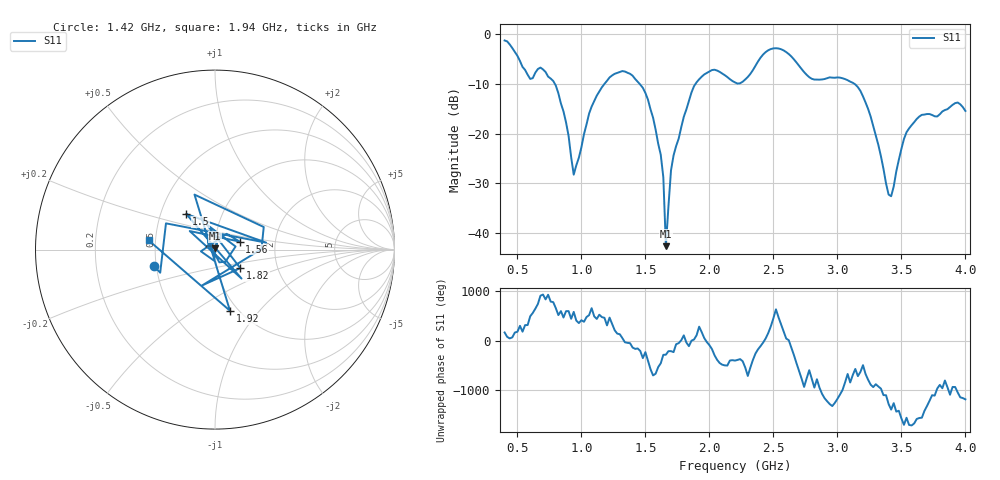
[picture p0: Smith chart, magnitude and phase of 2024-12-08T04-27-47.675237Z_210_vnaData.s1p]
!Created with skrf (http://scikit-rf.org).
# Hz S RI R 50.0
!freq ReS11 ImS11
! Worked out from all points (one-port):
!   181 points, 400 MHz to 4 GHz, reference 50 ohm
!   lowest |S11| = -42.6 dB at 1.66 GHz (marker M1), VSWR 1.01, Z = 50.2 + j0.726 ohm
!   |S11| at or under -10 dB: 792.1 MHz to 1.181 GHz (389 MHz wide, 39.4 % of centre); 1.454 GHz to 1.892 GHz (438.5 MHz wide, 26.2 % of centre); 3.131 GHz to end of sweep
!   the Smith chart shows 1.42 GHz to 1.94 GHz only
!   S11 on the Smith chart (normalised r, x): 1.42 GHz: 0.48, -0.10; 1.5 GHz: 0.67, +0.29; 1.56 GHz: 1.31, +0.12; 1.82 GHz: 1.29, -0.28; 1.92 GHz: 0.92, -0.71; 1.94 GHz: 0.46, +0.05
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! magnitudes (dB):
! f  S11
! 400 MHz  -1.3
! 600 MHz  -9.0
! 680 MHz  -6.8
! 780 MHz  -9.5
! 860 MHz  -15.5
! 940 MHz  -28.2
! 1.08 GHz  -14.6
! 1.3 GHz  -7.6
! 1.42 GHz  -9.0
! 1.5 GHz  -11.8
! 1.56 GHz  -16.8
! 1.64 GHz  -28.8
! 1.66 GHz  -42.6
! 1.7 GHz  -27.4
! 1.76 GHz  -21.0
! 1.82 GHz  -15.2
! 1.92 GHz  -9.1
! 1.94 GHz  -8.6
! 2.2 GHz  -9.7
! 2.48 GHz  -3.0
! 2.66 GHz  -5.1
! 2.8 GHz  -9.0
! 3.1 GHz  -9.6
! 3.24 GHz  -15.1
! 3.4 GHz  -32.2
! 3.56 GHz  -19.0
! 3.92 GHz  -13.9
! 4 GHz  -15.5
